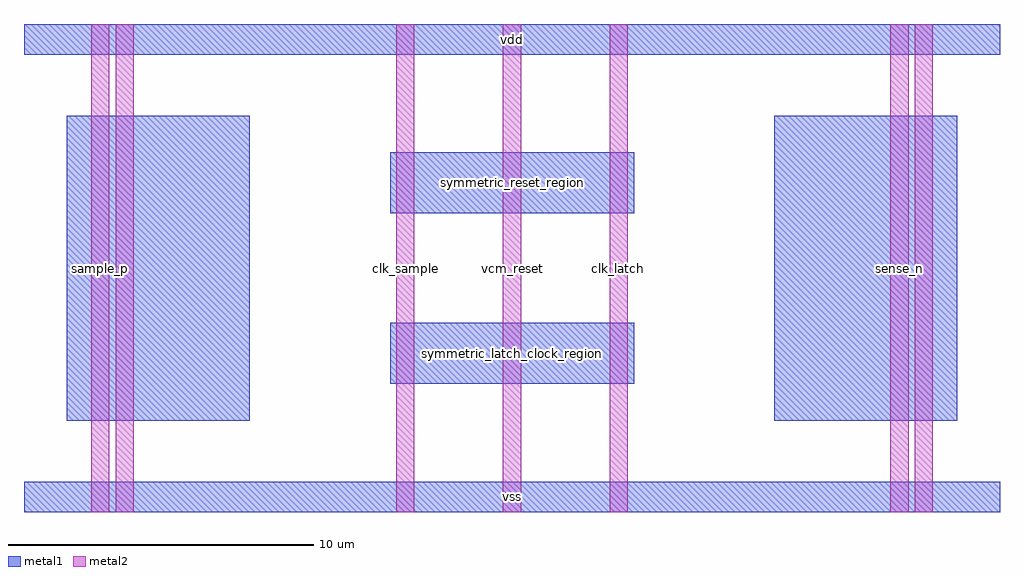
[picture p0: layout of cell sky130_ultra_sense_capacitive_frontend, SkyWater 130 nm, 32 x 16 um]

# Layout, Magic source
magic
tech sky130A
<< metal1 >>
rect 0 0 3200 100
rect 0 1500 3200 1600
rect 140 300 740 1300
rect 2460 300 3060 1300
rect 1200 980 2000 1180
rect 1200 420 2000 620
<< metal2 >>
rect 220 0 280 1600
rect 300 0 360 1600
rect 1220 0 1280 1600
rect 1570 0 1630 1600
rect 1920 0 1980 1600
rect 2840 0 2900 1600
rect 2920 0 2980 1600
<< labels >>
rlabel metal1 0 0 3200 100 0 vss
port 1 nsew
rlabel metal1 0 1500 3200 1600 0 vdd
port 2 nsew
rlabel metal2 220 0 280 1600 0 sample_p
port 3 nsew
rlabel metal2 300 0 360 1600 0 sense_p
port 4 nsew
rlabel metal2 1220 0 1280 1600 0 clk_sample
port 5 nsew
rlabel metal2 1570 0 1630 1600 0 vcm_reset
port 6 nsew
rlabel metal2 1920 0 1980 1600 0 clk_latch
port 7 nsew
rlabel metal2 2840 0 2900 1600 0 sense_n
port 8 nsew
rlabel metal2 2920 0 2980 1600 0 sample_n
port 9 nsew
rlabel metal1 140 300 740 1300 0 ultra_sample_p_sense_p_region
rlabel metal1 2460 300 3060 1300 0 ultra_sample_n_sense_n_region
rlabel metal1 1200 980 2000 1180 0 symmetric_reset_region
rlabel metal1 1200 420 2000 620 0 symmetric_latch_clock_region
<< end >>
